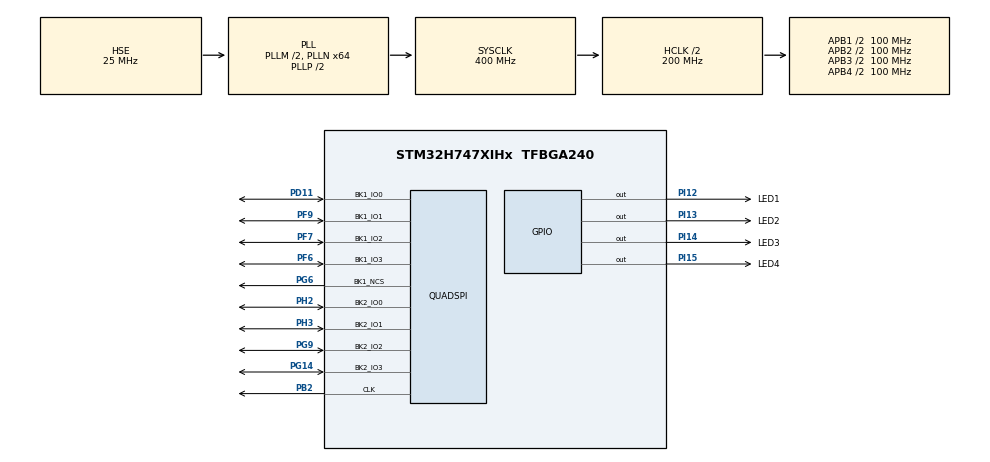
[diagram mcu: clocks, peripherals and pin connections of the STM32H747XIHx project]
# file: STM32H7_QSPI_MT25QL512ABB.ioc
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CORTEX_M7.CPU_DCache=Disabled
CORTEX_M7.CPU_ICache=Disabled
CortexM4.IPs=BDMA,DMA,FATFS_M4\:I,FREERTOS_M4\:I,IWDG2\:I,MDMA,NVIC2\:I,RCC,USB_DEVICE_M4\:I,USB_HOST_M4\:I,WWDG2\:I,PDM2PCM_M4\:I,PWR,RESMGR_UTILITY,SYS_M4\:I,CORTEX_M4\:I,OPENAMP_M4\:I,VREFBUF,GPIO
CortexM7.IPs=BDMA\:I,DMA\:I,FATFS_M7\:I,FREERTOS_M7\:I,IWDG1\:I,MDMA\:I,NVIC1\:I,RCC\:I,USB_DEVICE_M7\:I,USB_HOST_M7\:I,WWDG1\:I,CORTEX_M7\:I,DEBUG\:I,PDM2PCM_M7\:I,PWR\:I,RESMGR_UTILITY\:I,SYS\:I,OPENAMP_M7\:I,VREFBUF\:I,GPIO\:I,QUADSPI\:I
CortexM7.Pins=PI12,PI13,PI14,PI15
Mcu.Family=STM32H7
Mcu.Name=STM32H747XIHx
Mcu.Package=TFBGA240
NVIC1.PriorityGroup=NVIC_PRIORITYGROUP_4
NVIC2.PriorityGroup=NVIC_PRIORITYGROUP_4
PB2.GPIO_Speed=GPIO_SPEED_FREQ_VERY_HIGH
PB2.Mode=Dual_Bank
PB2.PinAttribute=CortexM7
PB2.Signal=QUADSPI_CLK
PD11.GPIO_Speed=GPIO_SPEED_FREQ_VERY_HIGH
PD11.Mode=Dual_Bank
PD11.PinAttribute=CortexM7
PD11.Signal=QUADSPI_BK1_IO0
PF6.GPIO_Speed=GPIO_SPEED_FREQ_VERY_HIGH
PF6.Mode=Dual_Bank
PF6.PinAttribute=CortexM7
PF6.Signal=QUADSPI_BK1_IO3
PF7.GPIO_Speed=GPIO_SPEED_FREQ_VERY_HIGH
PF7.Mode=Dual_Bank
PF7.PinAttribute=CortexM7
PF7.Signal=QUADSPI_BK1_IO2
PF9.GPIO_Speed=GPIO_SPEED_FREQ_VERY_HIGH
PF9.Mode=Dual_Bank
PF9.PinAttribute=CortexM7
PF9.Signal=QUADSPI_BK1_IO1
PG14.GPIO_Speed=GPIO_SPEED_FREQ_VERY_HIGH
PG14.Mode=Dual_Bank
PG14.PinAttribute=CortexM7
PG14.Signal=QUADSPI_BK2_IO3
PG6.GPIO_PuPd=GPIO_PULLUP
PG6.GPIO_Speed=GPIO_SPEED_FREQ_VERY_HIGH
PG6.Mode=Enable Chip Select 1 for both banks
PG6.PinAttribute=CortexM7
PG6.Signal=QUADSPI_BK1_NCS
PG9.GPIO_Speed=GPIO_SPEED_FREQ_VERY_HIGH
PG9.Mode=Dual_Bank
PG9.PinAttribute=CortexM7
PG9.Signal=QUADSPI_BK2_IO2
PH0-OSC_IN\ (PH0).Mode=HSE-External-Oscillator
PH0-OSC_IN\ (PH0).PinAttribute=Free
PH0-OSC_IN\ (PH0).Signal=RCC_OSC_IN
PH1-OSC_OUT\ (PH1).Mode=HSE-External-Oscillator
PH1-OSC_OUT\ (PH1).PinAttribute=Free
PH1-OSC_OUT\ (PH1).Signal=RCC_OSC_OUT
PH2.GPIO_Speed=GPIO_SPEED_FREQ_VERY_HIGH
PH2.Mode=Dual_Bank
PH2.PinAttribute=CortexM7
PH2.Signal=QUADSPI_BK2_IO0
PH3.GPIO_Speed=GPIO_SPEED_FREQ_VERY_HIGH
PH3.Mode=Dual_Bank
PH3.PinAttribute=CortexM7
PH3.Signal=QUADSPI_BK2_IO1
PI12.GPIO_Label=LED1
PI12.PinAttribute=CortexM7
PI12.PinState=GPIO_PIN_SET
PI12.Signal=GPIO_Output
PI13.GPIO_Label=LED2
PI13.PinAttribute=CortexM7
PI13.PinState=GPIO_PIN_SET
PI13.Signal=GPIO_Output
PI14.GPIO_Label=LED3
PI14.PinAttribute=CortexM7
PI14.PinState=GPIO_PIN_SET
PI14.Signal=GPIO_Output
PI15.GPIO_Label=LED4
PI15.PinAttribute=CortexM7
PI15.PinState=GPIO_PIN_SET
PI15.Signal=GPIO_Output
ProjectManager.HeapSize=M4-0x200,M7-0x200
ProjectManager.StackSize=M4-0x400,M7-0x1000
ProjectManager.TargetToolchain=STM32CubeIDE
QUADSPI.ChipSelectHighTime=QSPI_CS_HIGH_TIME_3_CYCLE
QUADSPI.ClockPrescaler=1
QUADSPI.FifoThreshold=1
QUADSPI.FlashSize=26
QUADSPI.SampleShifting=QSPI_SAMPLE_SHIFTING_HALFCYCLE
RCC.ADCFreq_Value=75000000
RCC.APB1Freq_Value=100000000
RCC.APB2Freq_Value=100000000
RCC.APB3Freq_Value=100000000
RCC.APB4Freq_Value=100000000
RCC.CortexFreq_Value=400000000
RCC.D1PPRE=RCC_APB3_DIV2
RCC.D2PPRE1=RCC_APB1_DIV2
RCC.D2PPRE2=RCC_APB2_DIV2
RCC.D3PPRE=RCC_APB4_DIV2
RCC.DIVM1=2
RCC.DIVM2=2
RCC.DIVN1=64
RCC.DIVN2=12
RCC.DIVQ1=5
RCC.HCLKFreq_Value=200000000
RCC.HPRE=RCC_HCLK_DIV2
RCC.PLL2FRACN=0
RCC.PLL3FRACN=0
RCC.PLLFRACN=0
RCC.PLLSourceVirtual=RCC_PLLSOURCE_HSE
RCC.PWR_Regulator_Voltage_Scale=PWR_REGULATOR_VOLTAGE_SCALE1
RCC.SYSCLKFreq_VALUE=400000000
RCC.SYSCLKSource=RCC_SYSCLKSOURCE_PLLCLK
RCC.SupplySource=PWR_DIRECT_SMPS_SUPPLY
RCC.USBFreq_Value=160000000
VP_SYS_M4_VS_Systick.Mode=SysTick
board=STM32H747I-DISCO

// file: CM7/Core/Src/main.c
/* USER CODE BEGIN Header */
/**
 ******************************************************************************
 * @file           : main.c
 * @brief          : Main program body
 ******************************************************************************
 * @attention
 *
 * Copyright (c) 2025 STMicroelectronics.
 * All rights reserved.
 *
 * This software is licensed under terms that can be found in the LICENSE file
 * in the root directory of this software component.
 * If no LICENSE file comes with this software, it is provided AS-IS.
 *
 ******************************************************************************
 */
/* USER CODE END Header */
#include "main.h"
#include "quadspi.h"
#include "gpio.h"

/* USER CODE BEGIN Includes */
#include <string.h>
#include "mt25ql512abb.h"
/* USER CODE END Includes */

/* USER CODE BEGIN PD */

/* DUAL_CORE_BOOT_SYNC_SEQUENCE: Define for dual core boot synchronization    */
/*                             demonstration code based on hardware semaphore */
/* This define is present in both CM7/CM4 projects                            */
/* To comment when developping/debugging on a single core                     */
#define DUAL_CORE_BOOT_SYNC_SEQUENCE

#if defined(DUAL_CORE_BOOT_SYNC_SEQUENCE)
#ifndef HSEM_ID_0
#define HSEM_ID_0 (0U) /* HW semaphore 0*/
#endif
#endif /* DUAL_CORE_BOOT_SYNC_SEQUENCE */

/* USER CODE END PD */

void SystemClock_Config(void);

/* USER CODE BEGIN 0 */
#define TEST_BUFFER_SIZE    (512)
uint8_t aTxBuffer[TEST_BUFFER_SIZE];
uint8_t aRxBuffer[TEST_BUFFER_SIZE];
MT25QL512ABB_Info_t flashInfo;
uint8_t id[6];

void MT25QL512ABB_Init(void)
{
  /* 1. Enter QPI mode */
  int32_t flashStatus = MT25QL512ABB_OK;

  flashStatus = MT25QL512ABB_EnterQPIMode(&hqspi);
  if(flashStatus != MT25QL512ABB_OK)
  {
    Error_Handler();
  }

  /* 2. Read ID and verify */
  flashStatus = MT25QL512ABB_ReadID(&hqspi, MT25QL512ABB_QPI_MODE, id, MT25QL512ABB_DUALFLASH_ENABLE);
  if((flashStatus != MT25QL512ABB_OK) || (id[0] != 0x20) || (id[1] != 0x20) || (id[2] != 0xBA) || (id[3] != 0xBA) || (id[4] != 0x20)
      || (id[5] != 0x20))
  {
    Error_Handler();
  }

  /* 3. Enter 4-byte address mode */
  flashStatus = MT25QL512ABB_Enter4BytesAddressMode(&hqspi, MT25QL512ABB_QPI_MODE);
  if(flashStatus != MT25QL512ABB_OK)
  {
    Error_Handler();
  }

}

void MT25QL512ABB_Test(void)
{
  // 1. Prepare data with a pattern unique to the address
  for(uint16_t j = 0;j < TEST_BUFFER_SIZE;j++)
  {
    aTxBuffer[j] = j;
  }

  // 2. Erase 1st 4K(Dual 8K)
  MT25QL512ABB_WriteEnable(&hqspi, MT25QL512ABB_QPI_MODE, MT25QL512ABB_DUALFLASH_ENABLE);
  MT25QL512ABB_BlockErase(&hqspi, MT25QL512ABB_QPI_MODE, MT25QL512ABB_4BYTES_SIZE, 0x0, MT25QL512ABB_ERASE_4K);
  MT25QL512ABB_AutoPollingMemReady(&hqspi, MT25QL512ABB_QPI_MODE, MT25QL512ABB_DUALFLASH_ENABLE);

  // 3. Write data to 0x0
  MT25QL512ABB_WriteEnable(&hqspi, MT25QL512ABB_QPI_MODE, MT25QL512ABB_DUALFLASH_ENABLE);
  MT25QL512ABB_PageProgram(&hqspi, MT25QL512ABB_QPI_MODE, MT25QL512ABB_4BYTES_SIZE, aTxBuffer, 0x0, TEST_BUFFER_SIZE);
  MT25QL512ABB_AutoPollingMemReady(&hqspi, MT25QL512ABB_QPI_MODE, MT25QL512ABB_DUALFLASH_ENABLE);

  // 4. Read data back from 0x0
  MT25QL512ABB_ReadSTR(&hqspi, MT25QL512ABB_QPI_MODE, MT25QL512ABB_4BYTES_SIZE, aRxBuffer, 0x0, TEST_BUFFER_SIZE);

  if(memcmp(aTxBuffer, aRxBuffer, TEST_BUFFER_SIZE) != 0)
  {
    HAL_GPIO_WritePin(LED3_GPIO_Port, LED3_Pin, GPIO_PIN_RESET); //error
  }
  else
  {
    HAL_GPIO_WritePin(LED1_GPIO_Port, LED1_Pin, GPIO_PIN_RESET);
  }

  // 5. Erase 2nd 4K(Dual Mode 8K)
  MT25QL512ABB_WriteEnable(&hqspi, MT25QL512ABB_QPI_MODE, MT25QL512ABB_DUALFLASH_ENABLE);
  MT25QL512ABB_BlockErase(&hqspi, MT25QL512ABB_QPI_MODE, MT25QL512ABB_4BYTES_SIZE, 0x2000, MT25QL512ABB_ERASE_4K);
  MT25QL512ABB_AutoPollingMemReady(&hqspi, MT25QL512ABB_QPI_MODE, MT25QL512ABB_DUALFLASH_ENABLE);

  // 6. Read data back from 0x0
  MT25QL512ABB_ReadSTR(&hqspi, MT25QL512ABB_QPI_MODE, MT25QL512ABB_4BYTES_SIZE, aRxBuffer, 0x0, TEST_BUFFER_SIZE);

  if(memcmp(aTxBuffer, aRxBuffer, TEST_BUFFER_SIZE) != 0)
  {
    HAL_GPIO_WritePin(LED3_GPIO_Port, LED3_Pin, GPIO_PIN_RESET); //error
  }
  else
  {
    HAL_GPIO_WritePin(LED1_GPIO_Port, LED1_Pin, GPIO_PIN_RESET);
  }
}
/* USER CODE END 0 */

int main(void)
{

  /* USER CODE BEGIN Boot_Mode_Sequence_0 */
#if defined(DUAL_CORE_BOOT_SYNC_SEQUENCE)
  int32_t timeout;
#endif /* DUAL_CORE_BOOT_SYNC_SEQUENCE */
  /* USER CODE END Boot_Mode_Sequence_0 */

  /* USER CODE BEGIN Boot_Mode_Sequence_1 */
#if defined(DUAL_CORE_BOOT_SYNC_SEQUENCE)
  /* Wait until CPU2 boots and enters in stop mode or timeout*/
  timeout = 0xFFFF;
  while((__HAL_RCC_GET_FLAG(RCC_FLAG_D2CKRDY) != RESET) && (timeout-- > 0));
  if ( timeout < 0 )
  {
    Error_Handler();
  }
#endif /* DUAL_CORE_BOOT_SYNC_SEQUENCE */
  /* USER CODE END Boot_Mode_Sequence_1 */
  /* MCU Configuration--------------------------------------------------------*/

  /* Reset of all peripherals, Initializes the Flash interface and the Systick. */
  HAL_Init();

  /* Configure the system clock */
  SystemClock_Config();
  /* USER CODE BEGIN Boot_Mode_Sequence_2 */
#if defined(DUAL_CORE_BOOT_SYNC_SEQUENCE)
  /* When system initialization is finished, Cortex-M7 will release Cortex-M4 by means of
HSEM notification */
  /*HW semaphore Clock enable*/
  __HAL_RCC_HSEM_CLK_ENABLE();
  /*Take HSEM */
  HAL_HSEM_FastTake(HSEM_ID_0);
  /*Release HSEM in order to notify the CPU2(CM4)*/
  HAL_HSEM_Release(HSEM_ID_0,0);
  /* wait until CPU2 wakes up from stop mode */
  timeout = 0xFFFF;
  while((__HAL_RCC_GET_FLAG(RCC_FLAG_D2CKRDY) == RESET) && (timeout-- > 0));
  if ( timeout < 0 )
  {
    Error_Handler();
  }
#endif /* DUAL_CORE_BOOT_SYNC_SEQUENCE */
  /* USER CODE END Boot_Mode_Sequence_2 */

  /* Initialize all configured peripherals */
  MX_GPIO_Init();
  MX_QUADSPI_Init();
  /* USER CODE BEGIN 2 */

  MT25QL512ABB_Init();
  MT25QL512ABB_Test();

  /* USER CODE END 2 */

  /* Infinite loop */
  while (1)
  {

  }
}

void SystemClock_Config(void)
{
  RCC_OscInitTypeDef RCC_OscInitStruct = {0};
  RCC_ClkInitTypeDef RCC_ClkInitStruct = {0};

  /** Supply configuration update enable
   */
  HAL_PWREx_ConfigSupply(PWR_DIRECT_SMPS_SUPPLY);

  /** Configure the main internal regulator output voltage
   */
  __HAL_PWR_VOLTAGESCALING_CONFIG(PWR_REGULATOR_VOLTAGE_SCALE1);

  while(!__HAL_PWR_GET_FLAG(PWR_FLAG_VOSRDY)) {}

  /** Initializes the RCC Oscillators according to the specified parameters
   * in the RCC_OscInitTypeDef structure.
   */
  RCC_OscInitStruct.OscillatorType = RCC_OSCILLATORTYPE_HSE;
  RCC_OscInitStruct.HSEState = RCC_HSE_ON;
  RCC_OscInitStruct.PLL.PLLState = RCC_PLL_ON;
  RCC_OscInitStruct.PLL.PLLSource = RCC_PLLSOURCE_HSE;
  RCC_OscInitStruct.PLL.PLLM = 2;
  RCC_OscInitStruct.PLL.PLLN = 64;
  RCC_OscInitStruct.PLL.PLLP = 2;
  RCC_OscInitStruct.PLL.PLLQ = 5;
  RCC_OscInitStruct.PLL.PLLR = 2;
  RCC_OscInitStruct.PLL.PLLRGE = RCC_PLL1VCIRANGE_3;
  RCC_OscInitStruct.PLL.PLLVCOSEL = RCC_PLL1VCOWIDE;
  RCC_OscInitStruct.PLL.PLLFRACN = 0;
  if (HAL_RCC_OscConfig(&RCC_OscInitStruct) != HAL_OK)
  {
    Error_Handler();
  }

  /** Initializes the CPU, AHB and APB buses clocks
   */
  RCC_ClkInitStruct.ClockType = RCC_CLOCKTYPE_HCLK|RCC_CLOCKTYPE_SYSCLK
      |RCC_CLOCKTYPE_PCLK1|RCC_CLOCKTYPE_PCLK2
      |RCC_CLOCKTYPE_D3PCLK1|RCC_CLOCKTYPE_D1PCLK1;
  RCC_ClkInitStruct.SYSCLKSource = RCC_SYSCLKSOURCE_PLLCLK;
  RCC_ClkInitStruct.SYSCLKDivider = RCC_SYSCLK_DIV1;
  RCC_ClkInitStruct.AHBCLKDivider = RCC_HCLK_DIV2;
  RCC_ClkInitStruct.APB3CLKDivider = RCC_APB3_DIV2;
  RCC_ClkInitStruct.APB1CLKDivider = RCC_APB1_DIV2;
  RCC_ClkInitStruct.APB2CLKDivider = RCC_APB2_DIV2;
  RCC_ClkInitStruct.APB4CLKDivider = RCC_APB4_DIV2;

  if (HAL_RCC_ClockConfig(&RCC_ClkInitStruct, FLASH_LATENCY_2) != HAL_OK)
  {
    Error_Handler();
  }
}

void Error_Handler(void)
{
  __disable_irq();
  while (1)
  {
  }
}
